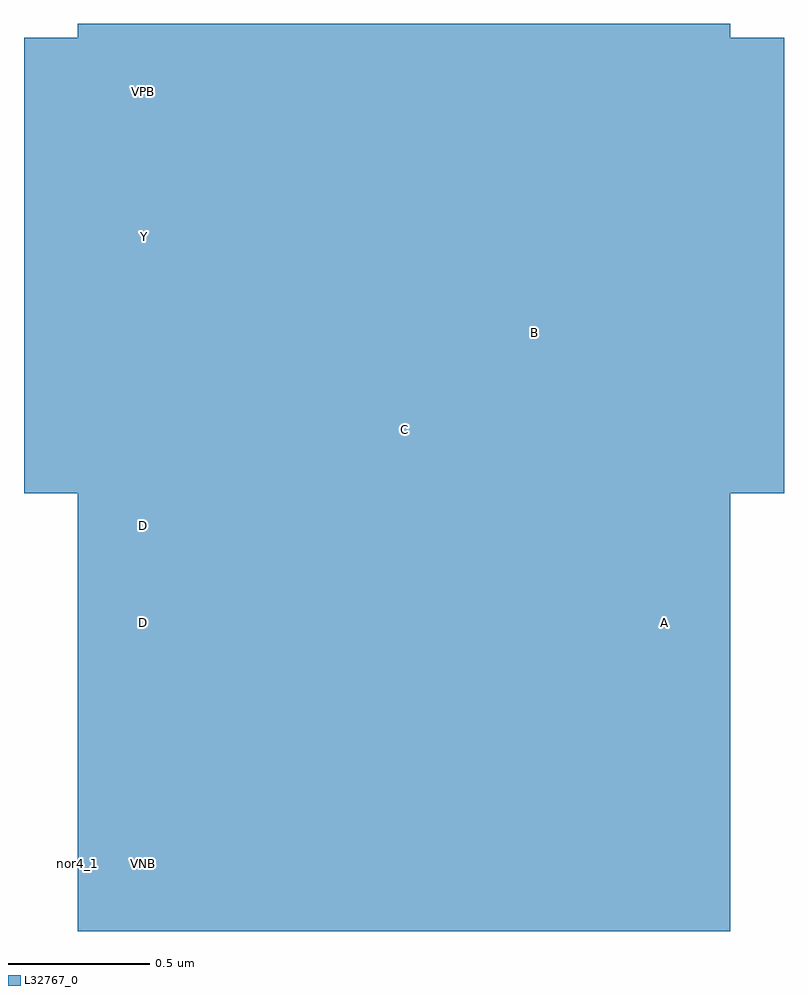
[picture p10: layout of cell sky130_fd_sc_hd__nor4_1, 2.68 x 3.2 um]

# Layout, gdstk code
import gdstk
lib = gdstk.Library(unit=1e-6, precision=1e-09)
def R(c, l, rs):  # rectangles x0, y0, x1, y1
    for r in rs: c.add(gdstk.rectangle(r[:2], r[2:], *l))
def A(c, l, x, y, w, h, nx, ny, dx, dy):  # array of equal rectangles
    R(c, l, [(x+i*dx, y+j*dy, x+i*dx+w, y+j*dy+h) for i in range(nx) for j in range(ny)])
def P(c, l, *ps):  # polygons
    for p in ps: c.add(gdstk.Polygon(p, *l))
L32767_0 = (32767, 0)

sky130_fd_sc_hd__nor4_1 = lib.new_cell('sky130_fd_sc_hd__nor4_1')
A(sky130_fd_sc_hd__nor4_1, L32767_0, 0.145, -0.085, 0.17, 0.17, 5, 2, 0.46, 2.72)
A(sky130_fd_sc_hd__nor4_1, L32767_0, 0.175, 1.575, 0.17, 0.17, 1, 3, 0, 0.34)
R(sky130_fd_sc_hd__nor4_1, L32767_0, [(0,-0.19,2.3,1.015), (0.145,-0.085,0.315,0.085), (0.145,-0.085,0.315,0.085), (0,0,2.3,2.72), (0,0,2.3,2.72), (0.135,0.235,2.165,0.885), (0.175,0.305,0.345,0.475), (1.115,0.305,1.285,0.475), (1.955,0.305,2.125,0.475), (0.69,0.465,0.86,0.635), (1.535,0.465,1.705,0.635), (1.955,0.655,2.215,1.665), (0.085,0.745,0.335,1.325), (0.145,0.765,0.315,0.935), (1.985,0.765,2.155,0.935), (0,0.975,2.3,1.345), (0.165,1.075,0.335,1.245), (0.845,1.075,1.015,1.245), (1.325,1.075,1.495,1.245), (1.975,1.075,2.145,1.245), (0.14,1.105,0.31,1.275), (0,1.25,2.3,2.72), (-0.19,1.305,2.49,2.91), (0,1.355,2.3,2.91), (1.065,1.445,1.235,1.615), (0.135,1.485,2.165,2.485), (1.525,1.785,1.695,1.955), (1.955,1.915,2.125,2.085), (0.15,2.125,0.32,2.295), (1.955,2.255,2.125,2.425), (0.145,2.635,0.315,2.805), (0.145,2.635,0.315,2.805)])
P(sky130_fd_sc_hd__nor4_1, L32767_0, [(1.285,2.45),(1.03,2.45),(1.03,1.615),(0.845,1.615),(0.845,0.995),(1.075,0.995),(1.075,1.415),(1.285,1.415)],
  [(2.3,0.085),(2.205,0.085),(2.205,0.485),(1.875,0.485),(1.875,0.085),(1.365,0.085),(1.365,0.485),(1.035,0.485),(1.035,0.085),(0.345,0.085),(0.345,0.575),(0.085,0.575),(0.085,0.085),(0,0.085),(0,-0.085),(2.3,-0.085)],
  [(1.695,2.45),(1.455,2.45),(1.455,1.245),(1.245,1.245),(1.245,1.075),(1.695,1.075)],
  [(1.705,0.825),(0.675,0.825),(0.675,1.665),(0.425,1.665),(0.425,2.45),(0.09,2.45),(0.09,1.495),(0.505,1.495),(0.505,0.645),(0.595,0.645),(0.595,0.385),(0.86,0.385),(0.86,0.655),(1.535,0.655),(1.535,0.385),(1.705,0.385)],
  [(2.3,2.805),(0,2.805),(0,2.635),(1.955,2.635),(1.955,1.835),(2.215,1.835),(2.215,2.635),(2.3,2.635)],
  [(0.545,2.615),(0.395,2.615),(0.395,1.325),(0.105,1.325),(0.105,0.995),(0.395,0.995),(0.395,0.105),(0.545,0.105)],
  [(1.545,1.325),(1.485,1.325),(1.485,2.615),(1.335,2.615),(1.335,1.325),(1.275,1.325),(1.275,0.995),(1.335,0.995),(1.335,0.105),(1.485,0.105),(1.485,0.995),(1.545,0.995)],
  [(2.195,1.325),(1.905,1.325),(1.905,2.615),(1.755,2.615),(1.755,0.105),(1.905,0.105),(1.905,0.995),(2.195,0.995)],
  [(1.065,1.325),(0.955,1.325),(0.955,2.615),(0.805,2.615),(0.805,1.325),(0.795,1.325),(0.795,0.995),(0.91,0.995),(0.91,0.105),(1.06,0.105),(1.06,0.995),(1.065,0.995)])
sky130_fd_sc_hd__nor4_1.add(gdstk.FlexPath([(0,2.72),(2.3,2.72)], 0.48, ends="flush", simple_path=True, layer=32767, datatype=0))  # L32767_0
sky130_fd_sc_hd__nor4_1.add(gdstk.FlexPath([(0,0),(2.3,0)], 0.48, ends="flush", simple_path=True, layer=32767, datatype=0))  # L32767_0
sky130_fd_sc_hd__nor4_1.add(gdstk.Label('D', (0.23,0.85), layer=32767, texttype=5))
sky130_fd_sc_hd__nor4_1.add(gdstk.Label('C', (1.15,1.53), layer=32767, texttype=5))
sky130_fd_sc_hd__nor4_1.add(gdstk.Label('D', (0.23,1.19), layer=32767, texttype=5))
sky130_fd_sc_hd__nor4_1.add(gdstk.Label('Y', (0.235,2.21), layer=32767, texttype=5))
sky130_fd_sc_hd__nor4_1.add(gdstk.Label('A', (2.07,0.85), layer=32767, texttype=5))
sky130_fd_sc_hd__nor4_1.add(gdstk.Label('B', (1.61,1.87), layer=32767, texttype=5))
sky130_fd_sc_hd__nor4_1.add(gdstk.Label('VPB', (0.23,2.72), layer=32767, texttype=5))
sky130_fd_sc_hd__nor4_1.add(gdstk.Label('VNB', (0.23,0), layer=32767, texttype=59))
sky130_fd_sc_hd__nor4_1.add(gdstk.Label('VGND', (0.23,0), layer=32767, texttype=5))
sky130_fd_sc_hd__nor4_1.add(gdstk.Label('VPWR', (0.23,2.72), layer=32767, texttype=5))
sky130_fd_sc_hd__nor4_1.add(gdstk.Label('nor4_1', (0,0), layer=32767, texttype=44))

lib.write_gds('sky130_fd_sc_hd__nor4_1.gds')
